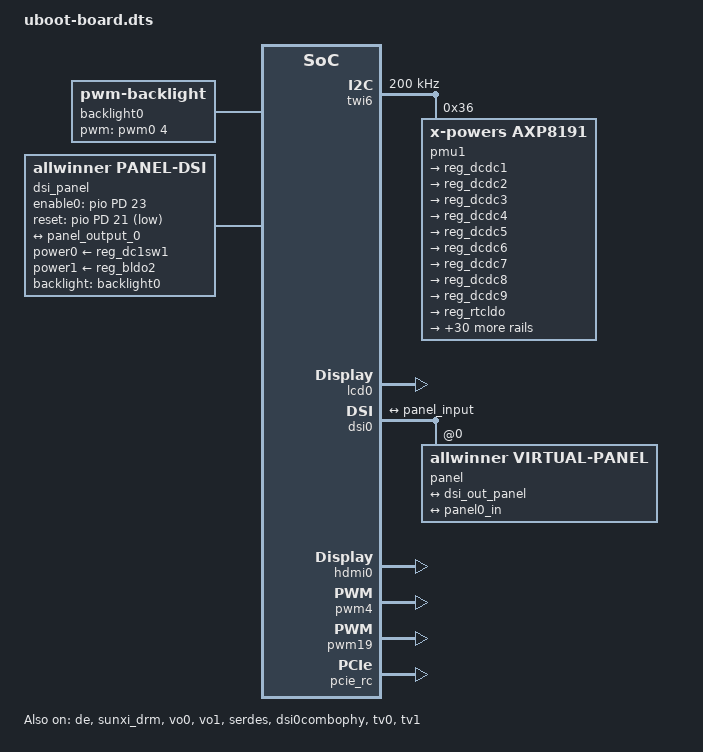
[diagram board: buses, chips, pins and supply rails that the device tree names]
/*
 * Allwinner Technology CO., Ltd. sun60iw2p1 soc board.
 *
 * soc board support.
 */

/ {
	backlight0: backlight0 {
		compatible = "pwm-backlight";
		status = "okay";
		brightness-levels = <
			  0   1   2   3   4   5   6   7
			  8   9  10  11  12  13  14  15
			 16  17  18  19  20  21  22  23
			 24  25  26  27  28  29  30  31
			 32  33  34  35  36  37  38  39
			 40  41  42  43  44  45  46  47
			 48  49  50  51  52  53  54  55
			 56  57  58  59  60  61  62  63
			 64  65  66  67  68  69  70  71
			 72  73  74  75  76  77  78  79
			 80  81  82  83  84  85  86  87
			 88  89  90  91  92  93  94  95
			 96  97  98  99 100 101 102 103
			104 105 106 107 108 109 110 111
			112 113 114 115 116 117 118 119
			120 121 122 123 124 125 126 127
			128 129 130 131 132 133 134 135
			136 137 138 139 140 141 142 143
			144 145 146 147 148 149 150 151
			152 153 154 155 156 157 158 159
			160 161 162 163 164 165 166 167
			168 169 170 171 172 173 174 175
			176 177 178 179 180 181 182 183
			184 185 186 187 188 189 190 191
			192 193 194 195 196 197 198 199
			200 201 202 203 204 205 206 207
			208 209 210 211 212 213 214 215
			216 217 218 219 220 221 222 223
			224 225 226 227 228 229 230 231
			232 233 234 235 236 237 238 239
			240 241 242 243 244 245 246 247
			248 249 250 251 252 253 254 255>;
		default-brightness-level = <73>;
		pwms = <&pwm0 4 25000 0>;
	};

	dsi_panel: dsi_panel@0 {
		compatible = "allwinner,panel-dsi";
		status = "okay";
		power-delay-ms = <10>;
		power0-supply = <&reg_dc1sw1>;
		power1-supply = <&reg_bldo2>;

		enable0-gpios = <&pio PD 23 GPIO_ACTIVE_HIGH>;
		//enable1-gpios = <&pio PE 15 GPIO_ACTIVE_HIGH>;
		reset-num = <1>;
		reset-delay-ms = <20>;
		reset-gpios = <&pio PD 21 GPIO_ACTIVE_LOW>; //reset
		backlight = <&backlight0>;
		dsi,flags = <(MIPI_DSI_MODE_VIDEO)>;
		dsi,lanes = <4>;
		dsi,format = <0>;

		panel-init-sequence = [
			15 00 02 E0 00
			15 00 02 E1 93
			15 00 02 E2 65
			15 00 02 E3 F8
			15 00 02 80 03

			15 00 02 E0 01
			15 00 02 00 00
			15 00 02 01 7E
			15 00 02 03 00
			15 00 02 04 65
			15 00 02 0C 74
			15 00 02 17 00
			15 00 02 18 B7
			15 00 02 19 00
			15 00 02 1A 00
			15 00 02 1B B7
			15 00 02 1C 00
			
			15 00 02 24 FE
			15 00 02 37 19
			15 00 02 38 05
			15 00 02 39 00
			15 00 02 3A 01
			15 00 02 3B 01
			15 00 02 3C 70
			15 00 02 3D FF
			15 00 02 3E FF
			15 00 02 3F FF

			15 00 02 40 06
			15 00 02 41 A0
			15 00 02 43 1E
			15 00 02 44 0F
			15 00 02 45 28
			15 00 02 4B 04

			15 00 02 55 02
			15 00 02 56 01
			15 00 02 57 A9
			15 00 02 58 0A
			15 00 02 59 0A
			15 00 02 5A 37
			15 00 02 5B 19
			15 00 02 5D 78
			15 00 02 5E 63
			15 00 02 5F 54
			
			15 00 02 60 49
			15 00 02 61 45
			15 00 02 62 38
			15 00 02 63 3D
			15 00 02 64 28
			15 00 02 65 43
			15 00 02 66 41
			15 00 02 67 43
			15 00 02 68 62
			15 00 02 69 50
			15 00 02 6A 57
			15 00 02 6B 49
			15 00 02 6C 44
			15 00 02 6D 37
			15 00 02 6E 23
			15 00 02 6F 10
			
			15 00 02 70 78
			15 00 02 71 63
			15 00 02 72 54
			15 00 02 73 49
			15 00 02 74 45
			15 00 02 75 38
			15 00 02 76 3D
			15 00 02 77 28
			15 00 02 78 43
			15 00 02 79 41
			15 00 02 7A 43
			15 00 02 7B 62
			15 00 02 7C 50
			15 00 02 7D 57
			15 00 02 7E 49
			15 00 02 7F 44
			
			15 00 02 80 37
			15 00 02 81 23
			15 00 02 82 10

			15 00 02 E0 02
			15 00 02 00 47
			15 00 02 01 47
			15 00 02 02 45
			15 00 02 03 45
			15 00 02 04 4B
			15 00 02 05 4B
			15 00 02 06 49
			15 00 02 07 49
			15 00 02 08 41
			15 00 02 09 1F
			15 00 02 0A 1F
			15 00 02 0B 1F
			15 00 02 0C 1F
			15 00 02 0D 1F
			15 00 02 0E 1F
			15 00 02 0F 5F
			15 00 02 10 5F
			15 00 02 11 57
			15 00 02 12 77
			15 00 02 13 35
			15 00 02 14 1F
			15 00 02 15 1F

			15 00 02 16 46
			15 00 02 17 46
			15 00 02 18 44
			15 00 02 19 44
			15 00 02 1A 4A
			15 00 02 1B 4A
			15 00 02 1C 48
			15 00 02 1D 48
			15 00 02 1E 40
			15 00 02 1F 1F
			15 00 02 20 1F
			15 00 02 21 1F
			15 00 02 22 1F
			15 00 02 23 1F
			15 00 02 24 1F
			15 00 02 25 5F
			15 00 02 26 5F
			15 00 02 27 57
			15 00 02 28 77
			15 00 02 29 35
			15 00 02 2A 1F
			15 00 02 2B 1F

			15 00 02 58 40
			15 00 02 59 00
			15 00 02 5A 00
			15 00 02 5B 10
			15 00 02 5C 06
			15 00 02 5D 40
			15 00 02 5E 01
			15 00 02 5F 02
			15 00 02 60 30
			15 00 02 61 01
			15 00 02 62 02
			15 00 02 63 03
			15 00 02 64 6B
			15 00 02 65 05
			15 00 02 66 0C
			15 00 02 67 73
			15 00 02 68 09
			15 00 02 69 03
			15 00 02 5A 56
			15 00 02 6B 08
			15 00 02 6C 00
			15 00 02 6D 04
			15 00 02 6E 04
			15 00 02 6F 88
			15 00 02 70 00
			15 00 02 71 00
			15 00 02 72 06
			15 00 02 73 7B
			15 00 02 74 00
			15 00 02 75 F8
			15 00 02 76 00
			15 00 02 77 D5
			15 00 02 78 2E
			15 00 02 79 12
			15 00 02 7A 03
			15 00 02 7B 00
			15 00 02 7C 00
			15 00 02 7D 03
			15 00 02 7E 7B

			15 00 02 E0 04
			15 00 02 00 0E
			15 00 02 02 B3
			15 00 02 09 60
			15 00 02 0E 2A
			15 00 02 37 58
			15 78 02 E0 00
			05 78 01 11
			05 14 01 29
		];

		panel-exit-sequence = [
			05 00 01 28
			05 00 01 10
		];

		disp_timings0: display-timings {
			native-mode = <&dsi1_timing0>;
			dsi1_timing0: timing0 {
				clock-frequency = <70000000>;
				hback-porch = <18>;
				hactive = <800>;
				hfront-porch = <18>;
				hsync-len = <18>;
				vback-porch = <10>;
				vactive = <1280>;
				vfront-porch = <20>;
				vsync-len = <4>;
			};
		};

		port {
			panel0_in: endpoint@0 {
				reg = <0>;
				remote-endpoint = <&panel_output_0>;
			};
		};
	};
};

&platform {
	eraseflag   = <1>;
	next_work   = <3>;
	debug_mode  = <4>;
};

&target {
	boot_clock = <1008>;	/*CPU boot frequency, Unit: MHz*/
	storage_type = <0xffffffff>; /*boot medium, 0-nand, 1-card0, 2-card2, -1(defualt)auto scan*/
	burn_key = <1>;		/*1:support burn key; 0:not support burn key*/
	dragonboard_test = <0>;	/*1:support card boot dragonboard; 0:not support card boot dragonboard*/
};

&power_sply {
	ntc_status = <2>;
	battery_exist = <0>;
};

&charger0 {
	pmu_safe_vol = <3400>;
	bat_bmp_type = <1>;
	ntc_cur = <60>;
	safe_temp_H = <600>;//60
	safe_temp_L = <0xFFFFFFCE>;//-5
	pmu_bat_temp_para1 = <4541>; //Murata -25
	pmu_bat_temp_para2 = <2762>; //-15
	pmu_bat_temp_para3 = <2180>; //-10
	pmu_bat_temp_para4 = <1732>; //-5
	pmu_bat_temp_para5 = <1386>;//0
	pmu_bat_temp_para6 = <1117>; //5
	pmu_bat_temp_para7 = <905>; //10
	pmu_bat_temp_para8 = <606>; //20
	pmu_bat_temp_para9 = <414>; //30
	pmu_bat_temp_para10 = <290>; //40
	pmu_bat_temp_para11 = <244>; //45
	pmu_bat_temp_para12 = <205>; //50
	pmu_bat_temp_para13 = <176>; //55
	pmu_bat_temp_para14 = <150>; //60
	pmu_bat_temp_para15 = <111>; //70
	pmu_bat_temp_para16 = <83>; //80
};

&twi6 {
	clock-frequency = <200000>;
	pinctrl-0 = <&s_twi0_pins_a>;
	pinctrl-1 = <&s_twi0_pins_b>;
	// twi-supply = <&reg_aldo3>;
	status = "okay";

	pmu1: pmu@36 {
		compatible = "x-powers,axp8191";
		reg = <0x36>;
		status = "okay";
		regulator0: regulators@0 {
			reg_dcdc1: dcdc1 {
				regulator-name = "axp8191-dcdc1";
			};
			reg_dcdc2: dcdc2 {
				regulator-name = "axp8191-dcdc2";
			};
			reg_dcdc3: dcdc3 {
				regulator-name = "axp8191-dcdc3";
			};
			reg_dcdc4: dcdc4 {
				regulator-name = "axp8191-dcdc4";
			};
			reg_dcdc5: dcdc5 {
				regulator-name = "axp8191-dcdc5";
			};
			reg_dcdc6: dcdc6 {
				regulator-name = "axp8191-dcdc6";
			};
			reg_dcdc7: dcdc7 {
				regulator-name = "axp8191-dcdc7";
			};
			reg_dcdc8: dcdc8 {
				regulator-name = "axp8191-dcdc8";
			};
			reg_dcdc9: dcdc9 {
				regulator-name = "axp8191-dcdc9";
			};
			reg_rtcldo: rtcldo {
				regulator-name = "axp8191-rtcldo";
			};
			reg_aldo1: aldo1 {
				regulator-name = "axp8191-aldo1";
			};
			reg_aldo2: aldo2 {
				regulator-name = "axp8191-aldo2";
			};
			reg_aldo3: aldo3 {
				regulator-name = "axp8191-aldo3";
			};
			reg_aldo4: aldo4 {
				regulator-name = "axp8191-aldo4";
			};
			reg_aldo5: aldo5 {
				regulator-name = "axp8191-aldo5";
			};
			reg_aldo6: aldo6 {
				regulator-name = "axp8191-aldo6";
			};
			reg_bldo1: bldo1 {
				regulator-name = "axp8191-bldo1";
			};
			reg_bldo2: bldo2 {
				regulator-name = "axp8191-bldo2";
			};
			reg_bldo3: bldo3 {
				regulator-name = "axp8191-bldo3";
			};
			reg_bldo4: bldo4 {
				regulator-name = "axp8191-bldo4";
			};
			reg_bldo5: bldo5 {
				regulator-name = "axp8191-bldo5";
			};
			reg_cldo1: cldo1 {
				regulator-name = "axp8191-cldo1";
			};
			reg_cldo2: cldo2 {
				regulator-name = "axp8191-cldo2";
			};
			reg_cldo3: cldo3 {
				regulator-name = "axp8191-cldo3";
			};
			reg_cldo4: cldo4 {
				regulator-name = "axp8191-cldo4";
			};
			reg_cldo5: cldo5 {
				regulator-name = "axp8191-cldo5";
			};
			reg_dldo1: dldo1 {
				regulator-name = "axp8191-dldo1";
			};
			reg_dldo2: dldo2 {
				regulator-name = "axp8191-dldo2";
			};
			reg_dldo3: dldo3 {
				regulator-name = "axp8191-dldo3";
			};
			reg_dldo4: dldo4 {
				regulator-name = "axp8191-dldo4";
			};
			reg_dldo5: dldo5 {
				regulator-name = "axp8191-dldo5";
			};
			reg_dldo6: dldo6 {
				regulator-name = "axp8191-dldo6";
			};
			reg_eldo1: eldo1 {
				regulator-name = "axp8191-eldo1";
			};
			reg_eldo2: eldo2 {
				regulator-name = "axp8191-eldo2";
			};
			reg_eldo3: eldo3 {
				regulator-name = "axp8191-eldo3";
			};
			reg_eldo4: eldo4 {
				regulator-name = "axp8191-eldo4";
			};
			reg_eldo5: eldo5 {
				regulator-name = "axp8191-eldo5";
			};
			reg_eldo6: eldo6 {
				regulator-name = "axp8191-eldo6";
			};
			reg_dc1sw1: dc1sw1 {
				regulator-name = "axp8191-dc1sw1";
				swin-supply = <&reg_dcdc1>;
			};
			reg_dc1sw2: dc1sw2 {
				regulator-name = "axp8191-dc1sw2";
				swin-supply = <&reg_dcdc1>;
			};
		};
	};
};

&sdc0_pins_a {
		allwinner,pins = "PF0", "PF1",
				 "PF3", "PF4", "PF5";
		allwinner,function = "sdc0";
		allwinner,muxsel = <2>;
		allwinner,drive = <0>;
		allwinner,pull = <1>;
};

&sdc0_pins_b {
		allwinner,pins = "PF2";
		allwinner,function = "sdc0";
		allwinner,muxsel = <2>;
		allwinner,drive = <2>;
		allwinner,pull = <1>;
};

&sdc0_pins_c {
		allwinner,pins = "PF0", "PF1", "PF2",
		  		 "PF3", "PF4", "PF5";
		allwinner,function = "uart0_jtag";
		allwinner,muxsel = <3>;
		allwinner,drive = <0>;
		allwinner,pull = <1>;
};

&sdc2_pins_a {
		allwinner,pins = "PC6",
				 "PC8", "PC9", "PC10", "PC11",
				 "PC13", "PC14", "PC15", "PC16";
		allwinner,function = "sdc3";
		allwinner,muxsel = <4>;
		allwinner,drive = <1>;
		allwinner,pull = <1>;
};

&sdc2_pins_b {
		allwinner,pins = "PC1", "PC5";
		allwinner,function = "sdc3";
		allwinner,muxsel = <4>;
		allwinner,drive = <3>;
		allwinner,pull = <1>;
};

&sdc2_pins_c {
		allwinner,pins = "PC0";
		allwinner,function = "sdc3";
		allwinner,muxsel = <4>;
		allwinner,drive = <3>;
		allwinner,pull = <2>;
};

&pwm4_pin_active {
		allwinner,pins = "PD22";
		allwinner,function = "pwm0_4";
		allwinner,muxsel = <0x2>;
		allwinner,drive = <3>;
		allwinner,pull = <2>;
};

&pwm4_pin_sleep {
		allwinner,pins = "PD22";
		allwinner,function = "io_disabled";
		allwinner,muxsel = <0xf>;
		allwinner,drive = <3>;
		allwinner,pull = <2>;
};

&pwm16_pin_active {
	allwinner,pins = "PI15";
	allwinner,function = "pwm1_6";
	allwinner,muxsel = <0x5>;
	allwinner,drive = <3>;
	allwinner,pull = <2>;
};

&pwm16_pin_sleep {
	allwinner,pins = "PI15";
	allwinner,function = "io_disabled";
	allwinner,muxsel = <0xf>;
	allwinner,drive = <3>;
	allwinner,pull = <2>;
};

// &pwm18_pin_active {
// 	allwinner,pins = "PJ26";
// 	allwinner,function = "pwm1_8";
// 	allwinner,muxsel = <0x3>;
// 	allwinner,drive = <3>;
// 	allwinner,pull = <2>;
// };

// &pwm18_pin_sleep {
// 	allwinner,pins = "PJ26";
// 	allwinner,function = "io_disabled";
// 	allwinner,muxsel = <0xf>;
// 	allwinner,drive = <3>;
// 	allwinner,pull = <2>;
// };

&pwm19_pin_active {
	allwinner,pins = "PE15";
	allwinner,function = "pwm1_9";
	allwinner,muxsel = <0x5>;
	allwinner,drive = <3>;
	allwinner,pull = <2>;
};

&pwm19_pin_sleep {
	allwinner,pins = "PE15";
	allwinner,function = "io_disabled";
	allwinner,muxsel = <0xf>;
	allwinner,drive = <3>;
	allwinner,pull = <2>;
};

&card0_boot_para {
		/* Avoid dtc compiling warnings. @TODO: Developer should modify this to the actual value */
		/* reg = <0x0 0x2 0x0 0x0>;  [> Avoid dtc compiling warnings. @TODO: Developer should modify this to the actual value <] */
	device_type = "card0_boot_para";
	card_ctrl = <0x0>;
	card_high_speed = <0x1>;
	card_line = <0x4>;
	clk_mmc = "sdmmc0_mod";
	pll-0 = "hosc";
	pll-1 = "pll_periph1_400m";
	pll-2 = "pll_periph1_300m";
	pinctrl-0 = <&sdc0_pins_a &sdc0_pins_b>;
	clk_type = "typ1";
};

&card2_boot_para {
	/*
	* Avoid dtc compiling warnings.
	* @TODO: Developer should modify this to the actual value
	*/
	reg = <0x0 0x3 0x0 0x0>;
	device_type = "card2_boot_para";
	card_ctrl = <0x2>;
	card_high_speed = <0x1>;
	card_line = <0x8>;
	clk_mmc = "sdmmc2_mod";
	pll-0 = "hosc";
	pll-1 = "pll_periph1_800m";
	pll-2 = "pll_periph1_600m";
	pinctrl-0 = <&sdc2_pins_a &sdc2_pins_c &sdc2_pins_b>;
	sdc_ex_dly_used = <0x2>;
	sdc_tm4_hs200_max_freq = <200>;
	sdc_tm4_hs400_max_freq = <200>;
	sdc_tm4_win_th = <0x7>;
	sdc_io_1v8 = <0x1>;
	sdc_mbus = <0x1>;
	sdc_type = "tm4";
	clk_type = "typ1";
};

/*
 *recovery_adc_used :  模块使能端，    1：开启，0：关闭
 *press_mode_enable :  长短按模式使能，1：开启，0：关闭
 *                     a)如果开启了该模式，则key_work_mode失效，short_press_mode和long_press_mode生效,
 *                     recovery按键可以通过长按和短按来触发两种不同的模式;
 *                     b)如果关闭了该模式，则key_work_mode生效，recovery按键只能触发一种模式.
 *key_work_mode     :  模式选择
 *                     0: 刷机,
 *                     1: 一键恢复(uboot阶段),
 *                     2: 安卓recovery,
 *                     3: 安卓恢复出厂设置.
 *                     如果不设置，模式为安卓recovery.
 *short_press_mode  :  长按触发的模式，选项同上.
 *long_press_mode   :  短按触发的模式，选项同上.
 *key_press_time    :  定义长按的时间，单位:毫秒.
 *recovery_key      :  按键配置.
 */
&adc_boot_recovery {
	recovery_adc_used = <1>;
	recovery_adc_channel = <0>; /* vol+ key */
	press_mode_enable = <1>;
	short_press_mode = <0x0>;
	long_press_mode = <0x2>;
	key_press_time = <2000>;
	key_min = <9>;
	key_max = <11>;
};

&gpadc_boot_recovery {
	recovery_adc_used = <1>;
	recovery_adc_channel = <9>; /* recovery key */
	press_mode_enable = <1>;
	short_press_mode = <0x0>;
	long_press_mode = <0x3>;
	key_press_time = <5000>;
	key_min = <455>;
	key_max = <500>;
};

&de {
	chn_cfg_mode = <2>;
	status = "okay";
};

&sunxi_drm {
	status = "okay";
};

&vo0 {
	status = "okay";
};

&vo1 {
	status = "okay";
};

&lcd0 {
	status = "okay";
};

&lcd2 {
	status = "disabled";
};

&serdes {
	status = "okay";
	combophy0: combo-phy0@6c01000 {
		lane_invert = <0 0 0 0>;
		lane_remap = <2 3 0 1>;
	};
};

&dsi0 {
	status = "okay";
	pinctrl-0 = <&dsi0_4lane_pins_a>;
	pinctrl-1 = <&dsi0_4lane_pins_b>;
	pinctrl-names = "active","sleep";

	ports {
		dsi0_out: port@1{
			dsi_out_panel: endpoint {
				remote-endpoint = <&panel_input>;
			};
		};
	};
	panel: panel@0 {
		compatible = "allwinner,virtual-panel";
		status = "okay";
		reg = <0>;
		ports {
			panel_in: port@0 {
				reg = <0>;
				panel_input: endpoint@0 {
					reg = <0>;
					remote-endpoint = <&dsi_out_panel>;
				};
			};
			panel_out: port@1 {
				reg = <1>;
				panel_output_0: endpoint@0 {
					reg = <0>;
					remote-endpoint = <&panel0_in>;
				};
			};
		};
	};
};

&sid {
	sid-supply = <&reg_dldo1>;
	voltage = <1800>;
	power_supply = "dldo6";
};

&dsi0combophy {
	status = "okay";
};

/* dual lvds or each other */
&dsi1combophy {
	status = "disabled";
};

&tv0 {
	status = "okay";
};

&tv1 {
	status = "okay";
};

&hdmi0 {
	dcdc2-supply = <&reg_dcdc2>;
	cldo2-supply = <&reg_cldo2>;
	hdmi_power0 = "dcdc2-supply";
	hdmi_power1 = "cldo2-supply";
	uhdmi_power_count = <2>;

	/*
	 * @uhdmi_fast_output: config uboot hdmi boot mode
	 *	- 1: use fast output mode. will only output 1080P video.
	 *	- 0: use compatible output mode. will read edid and check config mode
	 * @uhdmi_resistor_select: select hdmi resistor config. Actual onboard config!!!
	 *	- 1: use onboard resistor
	 *	- 0: use onchip resistor
	 */
	uhdmi_fast_output = <0>;
	uhdmi_resistor_select = <1>;

	/* match rule: min clk <= clock < max clk */
	snps_phy = <
		 25000 185625 0x0007 0x8160 0x8188
		185625 185625 0x0007 0x8160 0x8198
		185625 340000 0x0004 0x8040 0x8E85
		340000 600000 0x0000 0x80c0 0x82F6>;

	status = "okay";
};

&disp1_hdmi0 {
	enable = <1>;
	logo,uboot = "bootlogo.bmp";
};

&disp0_dsi0 {
	enable = <1>;
	logo,uboot = "bootlogo.bmp";
};

&disp0_lvds0 {
	enable = <0>;
	logo,uboot = "bootlogo.bmp";
};

&disp0_edp0 {
	enable = <0>;
	logo,uboot = "bootlogo.bmp";
};

&pwm4{
	pinctrl-names = "active","sleep";
	pinctrl-0 = <&pwm4_pin_active>;
	pinctrl-1 = <&pwm4_pin_sleep>;
	status = "okay";
};

&pwm16 {
	pinctrl-names = "active","sleep";
	pinctrl-0 = <&pwm16_pin_active>;
	pinctrl-1 = <&pwm16_pin_sleep>;
	status = "disabled";
};

// &pwm18 {
// 	pinctrl-names = "active","sleep";
// 	pinctrl-0 = <&pwm18_pin_active>;
// 	pinctrl-1 = <&pwm18_pin_sleep>;
// 	status = "okay";
// };

&pwm19 {
	pinctrl-names = "active","sleep";
	pinctrl-0 = <&pwm19_pin_active>;
	pinctrl-1 = <&pwm19_pin_sleep>;
	status = "okay";
};

&pcie_rc {
	status = "okay";
	pcie1v8-supply = <&reg_bldo2>;
	pcie3v3-supply = <&reg_dc1sw1>;
};
